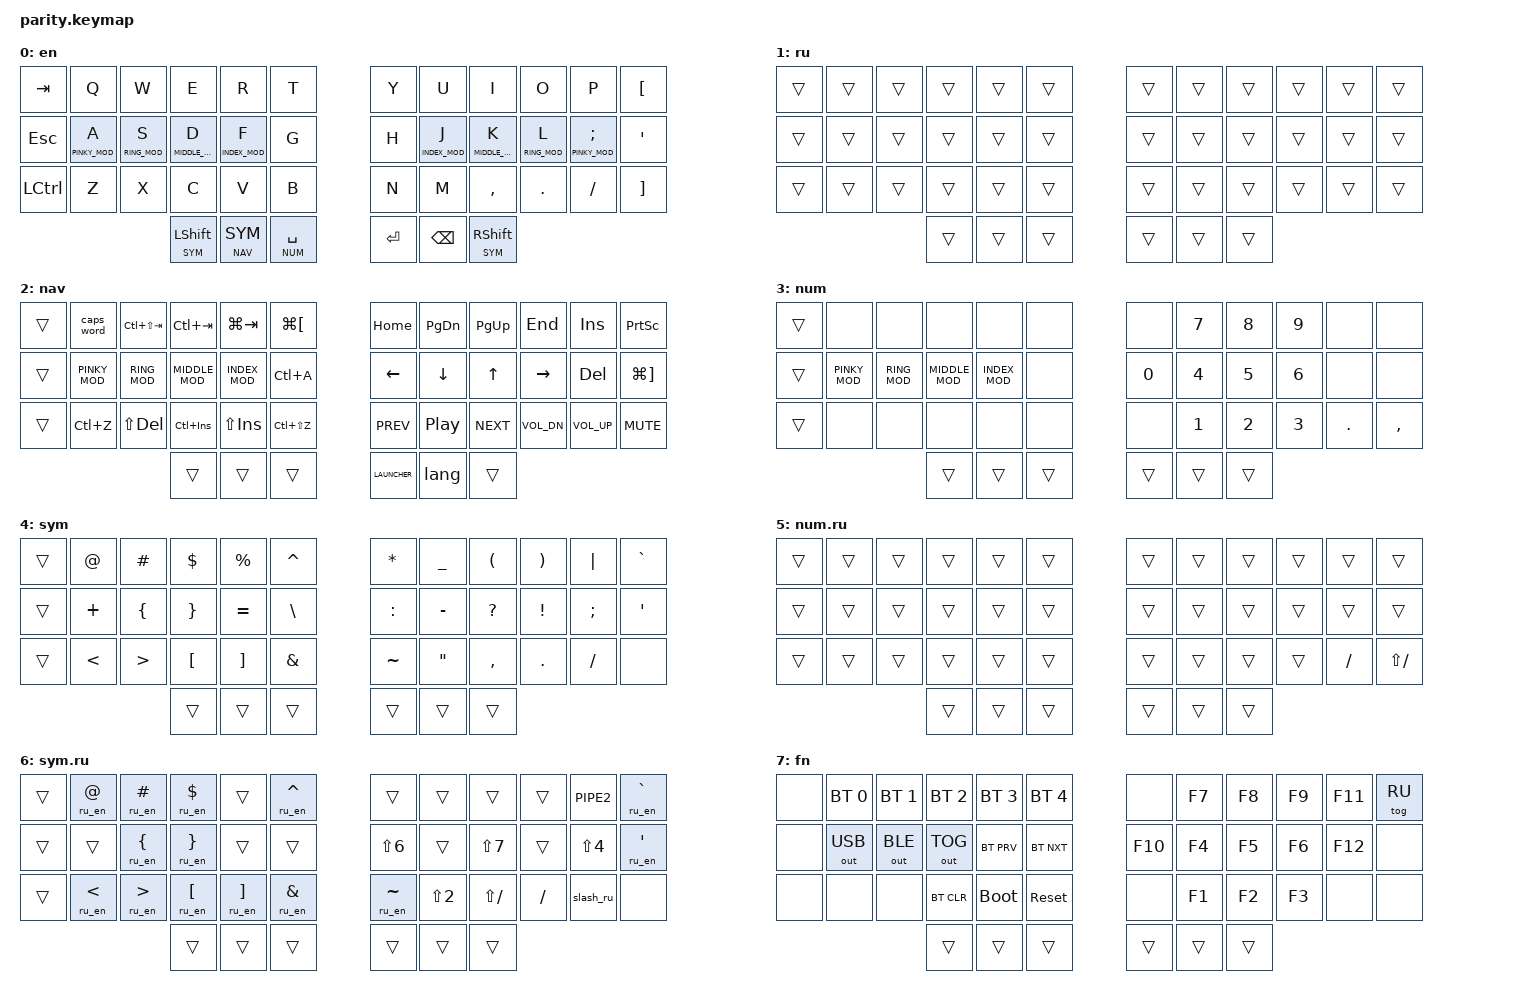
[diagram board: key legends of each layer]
#include <behaviors.dtsi>
#include <dt-bindings/zmk/keys.h>
#include <dt-bindings/zmk/bt.h>
#include <dt-bindings/zmk/outputs.h>
#include <dt-bindings/zmk/modifiers.h>

#include "common.h"

#define EN     0
#define RU     1
#define NAV    2
#define NUM    3
#define SYM    4
#define NUM_RU 5
#define SYM_RU 6
#define FN     7

/*
 *  0  1  2  3  4  5  |  6  7  8  9 10 11
 * 12 13 14 15 16 17  | 18 19 20 21 22 23
 * 24 25 26 27 28 29  | 30 31 32 33 34 35
 *          36 37 38  | 39 40 41
 */
#define KEYS_L  0  1  2  3  4  5 12 13 14 15 16 17 24 25 26 27 28 29
#define KEYS_R  6  7  8  9 10 11 18 19 20 21 22 23 30 31 32 33 34 35
#define THUMBS 36 37 38 39 40 41

#define SHIFT_MODS (MOD_LSFT|MOD_RSFT)


/ {
    behaviors {
        hml: home_row_mod_left {
            compatible = "zmk,behavior-hold-tap";
            #binding-cells = <2>;
            flavor = "balanced";
            tapping-term-ms = <280>;
            quick-tap-ms = <175>;
            require-prior-idle-ms = <150>;
            bindings = <&kp>, <&kp>;
            hold-trigger-key-positions = <KEYS_R THUMBS>;
            hold-trigger-on-release;
        };

        hmr: home_row_mod_right {
            compatible = "zmk,behavior-hold-tap";
            #binding-cells = <2>;
            flavor = "balanced";
            tapping-term-ms = <280>;
            quick-tap-ms = <175>;
            require-prior-idle-ms = <150>;
            bindings = <&kp>, <&kp>;
            hold-trigger-key-positions = <KEYS_L THUMBS>;
            hold-trigger-on-release;
        };

        skq: sticky_key_quick {
            compatible = "zmk,behavior-sticky-key";
            #binding-cells = <1>;
            bindings = <&kp>;
            release-after-ms = <1000>;
            quick-release;
            ignore-modifiers;
        };

        lts: layer_tap_sticky {
            compatible = "zmk,behavior-hold-tap";
            #binding-cells = <2>;
            flavor = "balanced";
            tapping-term-ms = <200>;
            bindings = <&mo>, <&skq>;
        };

        sls: layer_tap_sticky_layer {
            compatible = "zmk,behavior-hold-tap";
            #binding-cells = <2>;
            flavor = "balanced";
            tapping-term-ms = <200>;
            bindings = <&mo>, <&sl>;
        };

        ltk: layer_tap_key {
            compatible = "zmk,behavior-hold-tap";
            #binding-cells = <2>;
            flavor = "balanced";
            tapping-term-ms = <200>;
            quick-tap-ms = <175>;
            require-prior-idle-ms = <150>;
            bindings = <&mo>, <&kp>;
            hold-trigger-key-positions = <KEYS_R THUMBS 13 14 15 16>;
        };

        ru_en: symbol_via_english {
            compatible = "zmk,behavior-macro-one-param";
            #binding-cells = <1>;
            wait-ms = <30>;
            tap-ms = <10>;
            bindings
                = <&kp LANG_SWITCH>
                , <&macro_param_1to1>, <&kp MACRO_PLACEHOLDER>
                , <&kp LANG_SWITCH>;
        };

        lang: lang_switch {
            compatible = "zmk,behavior-macro";
            #binding-cells = <0>;
            wait-ms = <10>;
            tap-ms = <10>;
            bindings = <&kp LANG_SWITCH>;
        };

        slash_ru: slash_ru {
            compatible = "zmk,behavior-mod-morph";
            #binding-cells = <0>;
            bindings = <&kp LS(BSLH)>, <&kp LS(N7)>;
            mods = <SHIFT_MODS>;
        };

    };

    conditional_layers {
        compatible = "zmk,conditional-layers";

        ru_num {
            if-layers = <RU NUM>;
            then-layer = <NUM_RU>;
        };

        ru_sym {
            if-layers = <RU SYM>;
            then-layer = <SYM_RU>;
        };

        tri_fn {
            if-layers = <NUM SYM>;
            then-layer = <FN>;
        };
    };

    combos {
        compatible = "zmk,combos";
    };

    keymap {
        compatible = "zmk,keymap";

        default_layer {
            display-name = "en";
            bindings = <
    &kp TAB      &kp Q               &kp W              &kp E                &kp R               &kp T               &kp Y       &kp U               &kp I                &kp O              &kp P                  &kp LBKT
    &kp ESC      &hml PINKY_MOD A    &hml RING_MOD S    &hml MIDDLE_MOD D    &hml INDEX_MOD F    &kp G               &kp H       &hmr INDEX_MOD J    &hmr MIDDLE_MOD K    &hmr RING_MOD L    &hmr PINKY_MOD SEMI    &kp SQT
    &kp LCTRL    &kp Z               &kp X              &kp C                &kp V               &kp B               &kp N       &kp M               &kp COMMA            &kp DOT            &kp FSLH               &kp RBKT
                                                        &lts SYM LSHFT       &sls NAV SYM        &ltk NUM SPACE      &kp RET     &kp BSPC            &lts SYM RSHFT
            >;
        };

        ru_layer {
            display-name = "ru";
            bindings = <
    &trans       &trans       &trans       &trans       &trans       &trans               &trans       &trans       &trans       &trans       &trans       &trans
    &trans       &trans       &trans       &trans       &trans       &trans               &trans       &trans       &trans       &trans       &trans       &trans
    &trans       &trans       &trans       &trans       &trans       &trans               &trans       &trans       &trans       &trans       &trans       &trans
                                           &trans       &trans       &trans               &trans       &trans       &trans
            >;
        };

        nav_layer {
            display-name = "nav";
            bindings = <
    &trans      &caps_word       &kp LC(LS(TAB))    &kp LC(TAB)       &kp LG(TAB)      &kp LG(LBKT)        &kp HOME        &kp PG_DN    &kp PG_UP     &kp END         &kp INS         &kp PSCRN
    &trans      &kp PINKY_MOD    &kp RING_MOD       &kp MIDDLE_MOD    &kp INDEX_MOD    &kp LC(A)           &kp LEFT        &kp DOWN     &kp UP        &kp RIGHT       &kp DEL         &kp LG(RBKT)
    &trans      &kp LC(Z)        &kp LS(DEL)        &kp LC(INS)       &kp LS(INS)      &kp LC(LS(Z))       &kp C_PREV      &kp C_PP     &kp C_NEXT    &kp C_VOL_DN    &kp C_VOL_UP    &kp C_MUTE
                                                    &trans            &trans           &trans              &kp LAUNCHER    &lang        &trans
            >;
        };

        num_layer {
            display-name = "num";
            bindings = <
    &trans      &none            &none           &none             &none            &none               &none       &kp N7      &kp N8      &kp N9      &none       &none
    &trans      &kp PINKY_MOD    &kp RING_MOD    &kp MIDDLE_MOD    &kp INDEX_MOD    &none               &kp N0      &kp N4      &kp N5      &kp N6      &none       &none
    &trans      &none            &none           &none             &none            &none               &none       &kp N1      &kp N2      &kp N3      &kp DOT     &kp COMMA
                                                 &trans            &trans           &trans              &trans      &trans      &trans
            >;
        };

        sym_layer {
            display-name = "sym";
            bindings = <
    &trans      &kp AT      &kp HASH    &kp DLLR    &kp PRCNT    &kp CARET           &kp ASTRK    &kp UNDER    &kp LPAR     &kp RPAR    &kp PIPE    &kp GRAVE
    &trans      &kp PLUS    &kp LBRC    &kp RBRC    &kp EQUAL    &kp BSLH            &kp COLON    &kp MINUS    &kp QMARK    &kp EXCL    &kp SEMI    &kp SQT
    &trans      &kp LT      &kp GT      &kp LBKT    &kp RBKT     &kp AMPS            &kp TILDE    &kp DQT      &kp COMMA    &kp DOT     &kp FSLH    &none
                                        &trans      &trans       &trans              &trans       &trans       &trans
            >;
        };

        num_ru_layer {
            display-name = "num.ru";
            bindings = <
    &trans       &trans       &trans       &trans       &trans       &trans               &trans       &trans       &trans       &trans       &trans       &trans
    &trans       &trans       &trans       &trans       &trans       &trans               &trans       &trans       &trans       &trans       &trans       &trans
    &trans       &trans       &trans       &trans       &trans       &trans               &trans       &trans       &trans       &trans       &kp FSLH     &kp LS(FSLH)
                                           &trans       &trans       &trans               &trans       &trans       &trans
            >;
        };

        sym_ru_layer {
            display-name = "sym.ru";
            bindings = <
    &trans    &ru_en AT    &ru_en HASH    &ru_en DLLR    &trans         &ru_en CARET         &trans          &trans        &trans          &trans      &kp PIPE2     &ru_en GRAVE
    &trans    &trans       &ru_en LBRC    &ru_en RBRC    &trans         &trans               &kp LS(N6)      &trans        &kp LS(N7)      &trans      &kp LS(N4)    &ru_en SQT
    &trans    &ru_en LT    &ru_en GT      &ru_en LBKT    &ru_en RBKT    &ru_en AMPS          &ru_en TILDE    &kp LS(N2)    &kp LS(FSLH)    &kp FSLH    &slash_ru     &none
                                          &trans         &trans         &trans               &trans          &trans        &trans
            >;
        };

        fn_layer {
            display-name = "fn";
            bindings = <
    &none       &bt BT_SEL 0    &bt BT_SEL 1    &bt BT_SEL 2    &bt BT_SEL 3    &bt BT_SEL 4        &none       &kp F7      &kp F8      &kp F9      &kp F11     &tog RU
    &none       &out OUT_USB    &out OUT_BLE    &out OUT_TOG    &bt BT_PRV      &bt BT_NXT          &kp F10     &kp F4      &kp F5      &kp F6      &kp F12     &none
    &none       &none           &none           &bt BT_CLR      &bootloader     &sys_reset          &none       &kp F1      &kp F2      &kp F3      &none       &none
                                                &trans          &trans          &trans              &trans      &trans      &trans
            >;
        };

    };

};
